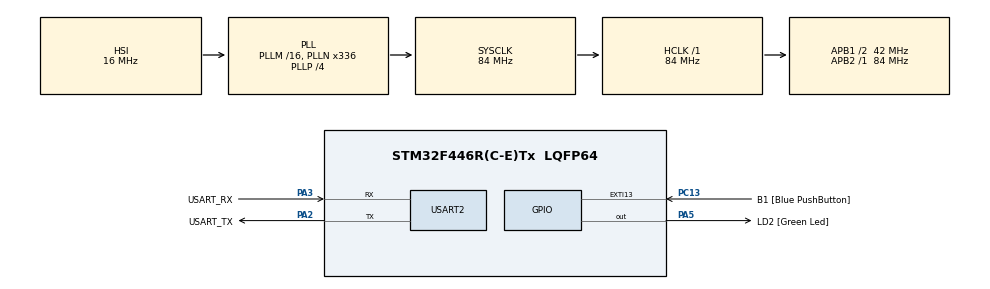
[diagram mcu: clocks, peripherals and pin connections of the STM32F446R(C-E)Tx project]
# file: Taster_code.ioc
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Mcu.Family=STM32F4
Mcu.Name=STM32F446R(C-E)Tx
Mcu.Package=LQFP64
NVIC.PriorityGroup=NVIC_PRIORITYGROUP_0
PA13.GPIO_Label=TMS
PA13.Mode=Serial_Wire
PA13.Signal=SYS_JTMS-SWDIO
PA14.GPIO_Label=TCK
PA14.Mode=Serial_Wire
PA14.Signal=SYS_JTCK-SWCLK
PA2.GPIO_Label=USART_TX
PA2.Mode=Asynchronous
PA2.Signal=USART2_TX
PA3.GPIO_Label=USART_RX
PA3.Mode=Asynchronous
PA3.Signal=USART2_RX
PA5.GPIO_Label=LD2 [Green Led]
PA5.Signal=GPIO_Output
PB3.GPIO_Label=SWO
PB3.Signal=SYS_JTDO-SWO
PC13.GPIO_Label=B1 [Blue PushButton]
PC13.GPIO_ModeDefaultEXTI=GPIO_MODE_IT_FALLING
PC13.Signal=GPXTI13
PC14-OSC32_IN.Mode=LSE-External-Oscillator
PC14-OSC32_IN.Signal=RCC_OSC32_IN
PC15-OSC32_OUT.Mode=LSE-External-Oscillator
PC15-OSC32_OUT.Signal=RCC_OSC32_OUT
PH0-OSC_IN.Mode=HSE-External-Oscillator
PH0-OSC_IN.Signal=RCC_OSC_IN
PH1-OSC_OUT.Mode=HSE-External-Oscillator
PH1-OSC_OUT.Signal=RCC_OSC_OUT
ProjectManager.HeapSize=0x200
ProjectManager.StackSize=0x400
ProjectManager.TargetToolchain=CMake
RCC.48MHZClocksFreq_Value=84000000
RCC.AHBFreq_Value=84000000
RCC.APB1CLKDivider=RCC_HCLK_DIV2
RCC.APB1Freq_Value=42000000
RCC.APB1TimFreq_Value=84000000
RCC.APB2Freq_Value=84000000
RCC.APB2TimFreq_Value=84000000
RCC.CortexFreq_Value=84000000
RCC.FLatency-AdvancedSettings=FLASH_LATENCY_2
RCC.HCLKFreq_Value=84000000
RCC.HSE_VALUE=8000000
RCC.HSI_VALUE=16000000
RCC.PLLN=336
RCC.PLLP=RCC_PLLP_DIV4
RCC.SYSCLKFreq_VALUE=84000000
RCC.SYSCLKSource=RCC_SYSCLKSOURCE_PLLCLK
RCC.USBFreq_Value=168000000
RCC.VCOOutputFreq_Value=336000000
USART2.VirtualMode=VM_ASYNC
board=NUCLEO-F446RE

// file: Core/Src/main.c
/* USER CODE BEGIN Header */
/**
  ******************************************************************************
  * @file           : main.c
  * @brief          : Main program body
  ******************************************************************************
  * @attention
  *
  * Copyright (c) 2026 STMicroelectronics.
  * All rights reserved.
  *
  * This software is licensed under terms that can be found in the LICENSE file
  * in the root directory of this software component.
  * If no LICENSE file comes with this software, it is provided AS-IS.
  *
  ******************************************************************************
  */
/* USER CODE END Header */
#include "main.h"
#include "stm32f4xx.h"
#include <stdint.h>
#include <stdio.h>

UART_HandleTypeDef huart2;

void SystemClock_Config(void);
static void MX_GPIO_Init(void);
static void MX_USART2_UART_Init(void);

/* USER CODE BEGIN 0 */
int __io_putchar(int ch)
{
    HAL_UART_Transmit(&huart2, (uint8_t*)&ch, 1, HAL_MAX_DELAY);
    return ch;
}
/* USER CODE END 0 */

 volatile uint8_t state = 0;
 volatile uint8_t mode = 0;     // Aktueller Betriebsmodus
int main(void)
{

  /* MCU Configuration--------------------------------------------------------*/

  /* Reset of all peripherals, Initializes the Flash interface and the Systick. */

  HAL_Init();

  /* Configure the system clock */
  SystemClock_Config();

  /* Initialize all configured peripherals */
  MX_GPIO_Init();
  MX_USART2_UART_Init();

// Debug-Ausgabe der aktuellen Taktfrequenzen über UART
// Zur Überprüfung der System- und Bus-Taktkonfiguration
  printf("SystemCoreClock = %lu\r\n", SystemCoreClock); // CPU-Systemtakt (SYSCLK)
  printf("PCLK1 = %lu\r\n", HAL_RCC_GetPCLK1Freq()); // APB1-Peripherietakt (z. B. TIM2, TIM5)
  printf("PCLK2 = %lu\r\n", HAL_RCC_GetPCLK2Freq()); // APB2-Peripherietakt
  /* USER CODE BEGIN 2 */
// Clock aktivieren
RCC->AHB1ENR |= (1 << 0); // GPIOA
RCC->AHB1ENR |= (1 << 2); // GPIOC

// ----------------------
// TIM2 konfigurieren (1ms Tick)
// ----------------------
// TIM2 Clock aktivieren
RCC->APB1ENR |= (1 << 0);
/// ----------------------
// TIM5 Zeitbasis
// ----------------------
RCC->APB1ENR |= (1 << 3);

TIM5->PSC = 84000 - 1;      // 1 ms
TIM5->ARR = 0xFFFFFFFF; // autoreload

TIM5->EGR = 1;              // <<< wichtig
TIM5->SR = 0;
TIM5->CNT = 0;

TIM5->CR1 = 1;

// =====================================================
// Timer-Konfiguration
// Requirement: TIMER_CONFIGURATION
// TIM2 erzeugt eine periodische Zeitbasis.
//
// @satisfies TIMER_CONFIGURATION
// =====================================================

// 84 MHz und 1s
TIM2->PSC = 84000 - 1;
TIM2->ARR = 1000-1 ;   // 1 s  autoreload

TIM2->EGR = 1;          // Werte sofort übernehmen
TIM2->SR = 0;           // Flags löschen
TIM2->CNT = 0;          // Zähler auf 0
// Timer starten
TIM2->CR1 |= (1 << 0);

// ----------------------
// LED ( PC0)
// ----------------------

// ----------------------

// =====================================================
// GPIO-Konfiguration
// Requirement: GPIO_CONFIG
// PA11–PA14 als Eingänge
// PC0–PC3 als Ausgänge
//
// @satisfies GPIO_CONFIG
// =====================================================

GPIOC->MODER &= ~(0xFF);   // reset PC0–PC3
GPIOC->MODER |=  (0x55);   // output

// ----------------------
// Taster PA11–PA14 Input
// ----------------------
GPIOA->MODER &= ~(0xFF << 22); // reset PA11–PA14

// =====================================================
// Tasterlogik
// Requirement: TASTER_LOGIC
// Active-Low Eingänge mit Pull-Up
//
// @satisfies TASTER_LOGIC
// =====================================================

// Pull-Up für alle
GPIOA->PUPDR &= ~(0xFF << 22);
GPIOA->PUPDR |=  (0x55 << 22); // Pull-Up
  /* USER CODE END 2 */

  /* Infinite loop */

  /* USER CODE BEGIN WHILE */
  while (1)
{
      // -----------------------------
    // Taster prüfen
    // -----------------------------

    // Taster 1 gedrückt
    if (!(GPIOA->IDR & (1 << 11)))
    {
        mode = 1;
    }

    // Taster 2 gedrückt
    else if (!(GPIOA->IDR & (1 << 12)))
    {
        mode = 2;
    }

    // Taster 3 gedrückt
    else if (!(GPIOA->IDR & (1 << 13)))
    {
        mode = 3;
    }

    // Taster 4 gedrückt
    else if (!(GPIOA->IDR & (1 << 14)))
    {
        mode = 4;
    }

    // --------------------------------
    // Timer ist abgelaufen?
    // --------------------------------
    if (TIM2->SR & 1)
    {
        // Update-Flag löschen
        TIM2->SR &= ~(1 << 0);

        switch (mode)
        {
  // =====================================================
// Requirement: TASTER_1_FUNCTION
// Requirement: T1_TIMING
//
// @satisfies TASTER_1_FUNCTION
// @satisfies T1_TIMING
// =====================================================

            // -------------------------
            // Modus 1
            // LED1 blinkt
            // -------------------------
            case 1:
                GPIOC->ODR ^= (1 << 0);      // PC0 umschalten
                GPIOC->ODR &= ~0x0E;         // PC1-PC3 ausschalten
               printf("LED1 TOGGLE %lu\r\n", TIM5->CNT);

                break;

// =====================================================
// Requirement: TASTER_2_FUNCTION
// Requirement: T2_TIMING
//
// @satisfies TASTER_2_FUNCTION
// @satisfies T2_TIMING
// =====================================================

            // -------------------------
            // Modus 2
            // LED2 blinkt
            // -------------------------
            case 2:
                GPIOC->ODR ^= (1 << 1);      // PC1 umschalten
                GPIOC->ODR &= ~0x0D;         // PC0,PC2,PC3 aus
                printf("LED2 TOGGLE %lu\r\n", TIM5->CNT);

                break;

// =====================================================
// Requirement: TASTER_3_FUNCTION
//
// @satisfies TASTER_3_FUNCTION
// =====================================================

            // -------------------------
            // Modus 3
            // Alle LEDs blinken
            // -------------------------
            case 3:
                GPIOC->ODR ^= 0x0F;
                printf("ALL TOGGLE %lu\r\n", TIM5->CNT);
                break;
// =====================================================
// Requirement: TASTER_4_FUNCTION
//
// @satisfies TASTER_4_FUNCTION
// =====================================================

            // -------------------------
            // Modus 4
            // Alle LEDs dauerhaft an
            // -------------------------
            case 4:
                GPIOC->ODR = 0x0F;
                printf("ALL ON %lu\r\n", TIM5->CNT);
                break;

            // -------------------------
            // Kein Modus gewählt
            // -------------------------
            default:
                GPIOC->ODR = 0x00;
                break;
        }
    }
}
  /* USER CODE END 3 */
}

void SystemClock_Config(void)
{
  RCC_OscInitTypeDef RCC_OscInitStruct = {0};
  RCC_ClkInitTypeDef RCC_ClkInitStruct = {0};

  /** Configure the main internal regulator output voltage
  */
  __HAL_RCC_PWR_CLK_ENABLE();
  __HAL_PWR_VOLTAGESCALING_CONFIG(PWR_REGULATOR_VOLTAGE_SCALE3);

  /** Initializes the RCC Oscillators according to the specified parameters
  * in the RCC_OscInitTypeDef structure.
  */
  RCC_OscInitStruct.OscillatorType = RCC_OSCILLATORTYPE_HSI;
  RCC_OscInitStruct.HSIState = RCC_HSI_ON;
  RCC_OscInitStruct.HSICalibrationValue = RCC_HSICALIBRATION_DEFAULT;
  RCC_OscInitStruct.PLL.PLLState = RCC_PLL_ON;
  RCC_OscInitStruct.PLL.PLLSource = RCC_PLLSOURCE_HSI;
  RCC_OscInitStruct.PLL.PLLM = 16;
  RCC_OscInitStruct.PLL.PLLN = 336;
  RCC_OscInitStruct.PLL.PLLP = RCC_PLLP_DIV4;
  RCC_OscInitStruct.PLL.PLLQ = 2;
  RCC_OscInitStruct.PLL.PLLR = 2;
  if (HAL_RCC_OscConfig(&RCC_OscInitStruct) != HAL_OK)
  {
    Error_Handler();
  }

  /** Initializes the CPU, AHB and APB buses clocks
  */
  RCC_ClkInitStruct.ClockType = RCC_CLOCKTYPE_HCLK|RCC_CLOCKTYPE_SYSCLK
                              |RCC_CLOCKTYPE_PCLK1|RCC_CLOCKTYPE_PCLK2;
  RCC_ClkInitStruct.SYSCLKSource = RCC_SYSCLKSOURCE_PLLCLK;
  RCC_ClkInitStruct.AHBCLKDivider = RCC_SYSCLK_DIV1;
  RCC_ClkInitStruct.APB1CLKDivider = RCC_HCLK_DIV2;
  RCC_ClkInitStruct.APB2CLKDivider = RCC_HCLK_DIV1;

  if (HAL_RCC_ClockConfig(&RCC_ClkInitStruct, FLASH_LATENCY_2) != HAL_OK)
  {
    Error_Handler();
  }
}

static void MX_USART2_UART_Init(void)
{

  huart2.Instance = USART2;
  huart2.Init.BaudRate = 115200;
  huart2.Init.WordLength = UART_WORDLENGTH_8B;
  huart2.Init.StopBits = UART_STOPBITS_1;
  huart2.Init.Parity = UART_PARITY_NONE;
  huart2.Init.Mode = UART_MODE_TX_RX;
  huart2.Init.HwFlowCtl = UART_HWCONTROL_NONE;
  huart2.Init.OverSampling = UART_OVERSAMPLING_16;
  if (HAL_UART_Init(&huart2) != HAL_OK)
  {
    Error_Handler();
  }

}

static void MX_GPIO_Init(void)
{
  GPIO_InitTypeDef GPIO_InitStruct = {0};

  /* GPIO Ports Clock Enable */
  __HAL_RCC_GPIOC_CLK_ENABLE();
  __HAL_RCC_GPIOH_CLK_ENABLE();
  __HAL_RCC_GPIOA_CLK_ENABLE();
  __HAL_RCC_GPIOB_CLK_ENABLE();

  /*Configure GPIO pin Output Level */
  HAL_GPIO_WritePin(LD2_GPIO_Port, LD2_Pin, GPIO_PIN_RESET);

  /*Configure GPIO pin : B1_Pin */
  GPIO_InitStruct.Pin = B1_Pin;
  GPIO_InitStruct.Mode = GPIO_MODE_IT_FALLING;
  GPIO_InitStruct.Pull = GPIO_NOPULL;
  HAL_GPIO_Init(B1_GPIO_Port, &GPIO_InitStruct);

  /*Configure GPIO pin : LD2_Pin */
  GPIO_InitStruct.Pin = LD2_Pin;
  GPIO_InitStruct.Mode = GPIO_MODE_OUTPUT_PP;
  GPIO_InitStruct.Pull = GPIO_NOPULL;
  GPIO_InitStruct.Speed = GPIO_SPEED_FREQ_LOW;
  HAL_GPIO_Init(LD2_GPIO_Port, &GPIO_InitStruct);

}

void Error_Handler(void)
{
  __disable_irq();
  while (1)
  {
  }
}
